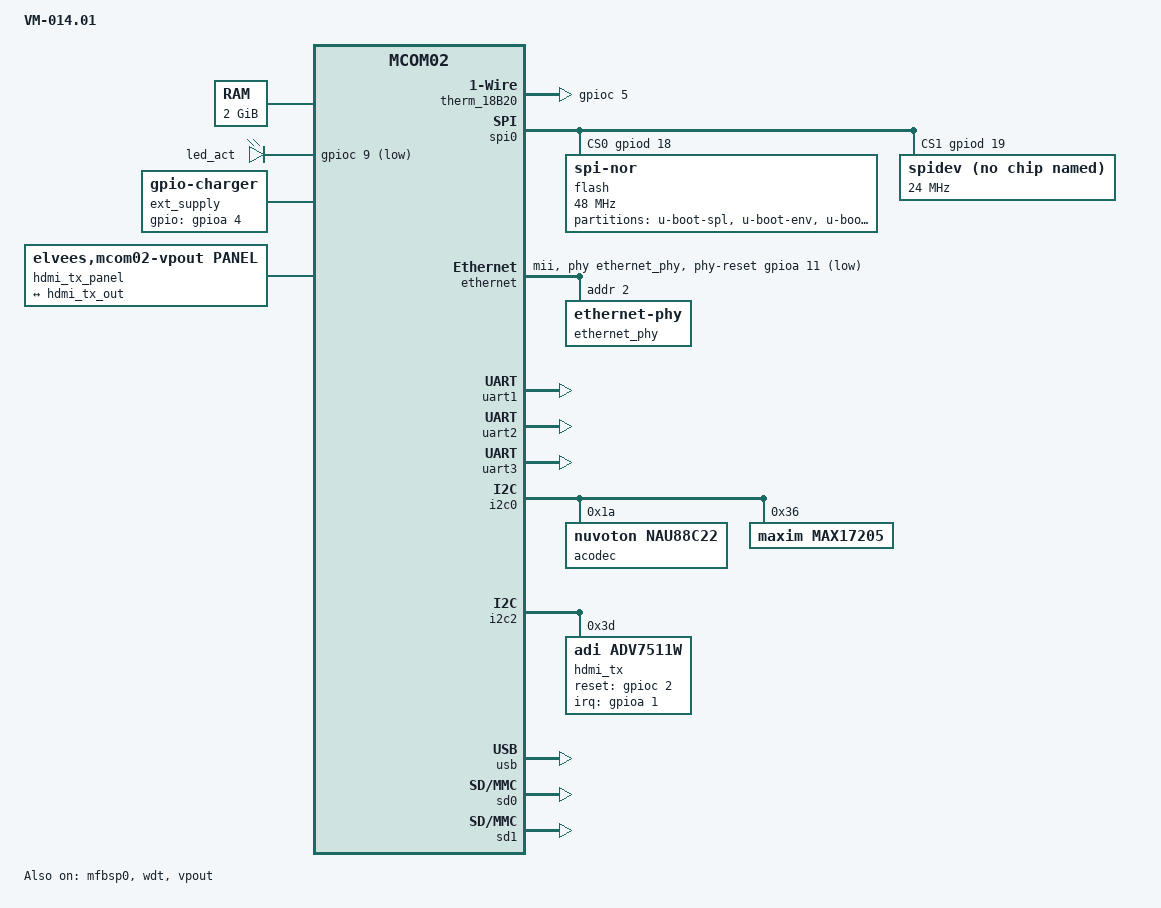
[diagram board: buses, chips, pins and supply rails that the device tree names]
/*
* Copyright 2015-2016 ELVEES NeoTek JSC
*
* This program is free software; you can redistribute it and/or modify
* it under the terms of the GNU General Public License version 2 as
* published by the Free Software Foundation.
*/

/dts-v1/;

#include <dt-bindings/interrupt-controller/irq.h>
#include <dt-bindings/gpio/gpio.h>

#include "mcom02.dtsi"

/ {
	model = "VM-014.01";
	revision = "1.0";
	compatible = "elvees,salute-el24d1-r1.3",
		     "elvees,salute-el24d1",
		     "elvees,mcom02";
	poweroff-gpio = <&gpioc 6 GPIO_ACTIVE_HIGH>;

	chosen {
		bootargs = "console=ttyS0,115200";
	};

	aliases {
		spi0 = &spi0;
		i2c0 = &i2c0;
		i2c1 = &i2c1;
		i2c2 = &i2c2;
        ethernet0 = &ethernet;
	};

	memory {
		device_type = "memory";
		reg = <0x40000000 0x40000000
		       0xa0000000 0x40000000>;
	};

	leds {
		compatible = "gpio-leds";

		led@1 {
			label = "led_act";
			gpios = <&gpioc 9 GPIO_ACTIVE_LOW>;
			linux,default-trigger = "heartbeat";
		};

	};

	xtican: xtican {
		compatible = "fixed-clock";
		#clock-cells = <0>;
		clock-frequency = <16000000>;
	};
    
    therm_18B20 {
        compatible = "w1-gpio";
        gpios = <&gpioc 5 GPIO_ACTIVE_LOW>;
    };

    sound {
        compatible = "simple-audio-card";
        simple-audio-card,name = "VM14 Com Express Analog Audio";
        simple-audio-card,format = "i2s";
        simple-audio-card,bitclock-master = <&dailink0_master>;
        simple-audio-card,frame-master = <&dailink0_master>;

        simple-audio-card,cpu {
            sound-dai = <&mfbsp0>;
        };

        dailink0_master: simple-audio-card,codec {
            sound-dai = <&acodec>;
            system-clock-frequency = <24000000>;
        };
    };
    
    ext_supply: charger {
		compatible = "gpio-charger";
		charger-type = "mains";
		gpios = <&gpioa 4 GPIO_ACTIVE_HIGH>;
	};


    hdmi_tx_panel: panel0 {
		compatible = "elvees,mcom02-vpout,panel";
		

		display-timings {
			800x480p60 {
				clock-frequency = <33300000>;
				hactive = <800>;
				vactive = <480>;
				hfront-porch = <85>;
				hback-porch = <85>;
				hsync-len = <86>;
				vfront-porch = <15>;
				vback-porch = <15>;
				vsync-len = <15>;
			};
		};

		port {
			hdmi_tx_in: endpoint {
				remote-endpoint = <&hdmi_tx_out>;
			};
		};
	};/**/
};

&mfbsp0 {
	status = "okay";
};

&nor_sclk_div {
    clk-div-initial = <2>;
};

&spi0 {
	status = "okay";
	num-cs = <2>;
	/* Third argument of "cs-gpios" property is set to 0,
	 * because it is ignored by the SPI driver. */
	cs-gpios = <&gpiod 18 0>, <&gpiod 19 0>;
	spi-max-frequency = <144000000>;

	flash: flash@0 {
		#address-cells = <1>;
		#size-cells = <1>;
		compatible = "jedec,spi-nor", "spi-flash";
		reg = <0>;
		spi-max-frequency = <48000000>;
		u-boot,dm-pre-reloc;

		partition@0 {
			label = "u-boot-spl";
			reg = <0x0 0x10000>;
		};

		partition@1 {
			label = "u-boot-env";
			reg = <0x10000 0x10000>;
		};

		partition@2 {
			label = "u-boot";
			reg = <0x20000 0xa0000>;
		};

		partition@3 {
			label = "kernel";
			reg = <0x100000 0x210000>;
		};

		partition@4 {
			label = "RootFS";
			reg = <0x310000 0xcf0000>;
		};
	};

	spidev@1 {
		spi-max-frequency = <24000000>;
		reg = <1>;
		compatible = "rohm,dh2228fv";
	};
};

&ethernet {
	#address-cells = <1>;
	#size-cells = <0>;
	status = "okay";
	phy-mode = "mii";
	phy-handle = <&ethernet_phy>;
	phy-reset-gpios = <&gpioa 11 GPIO_ACTIVE_LOW>;

	ethernet_phy: ethernet-phy@2 {
		reg = <2>;
	};
};

&wdt {
    status = "okay";
};

&uart1 {
	status = "okay";
};


/*
 * RS-485 - 1
 */
&uart2 {
	status = "okay";
    rts-gpio = <&gpioa 31 GPIO_ACTIVE_LOW>;
    linux,rs485-enabled-at-boot-time;
    rs485-rts-active-high;
};

/*
 * RS-485 - 2
 */
&uart3 {
	status = "okay";
    rts-gpio = <&gpioc 1 GPIO_ACTIVE_LOW>;
    linux,rs485-enabled-at-boot-time;
    rs485-rts-active-high;
};

&i2c0 {
    status = "okay";
    acodec: nau88c22@1a {
        #sound-dai-cells = <0>;
        compatible = "nuvoton,nau88c22";
        clocks = <&xti24m>;
        reg = <0x1A>;
    };
    
    max17205@32 {
		compatible  = "maxim,max17205";
		reg         = <0x36>;
		rsense      = <10>;      /* miliOhm */
		talrt-min   = <(-40)>;     /* DegreeC */
		talrt-max   = <65>;      /* DegreeC */
		valrt-min   = <6000>;    /* mV */
		valrt-max   = <8400>;    /* mV */
		salrt-min   = <1>;       /* Percent */
		salrt-max   = <99>;      /* Percent */
		ialrt-min   = <(-7000)>; /* mA */
		ialrt-max   = <7000>;    /* mA */
		
		power-supplies = <&ext_supply>;
	};
};

&i2c2 {
    status = "okay";
    
    hdmi_tx: adv7511@3d {
        compatible = "adi,adv7511w";
        reset = <&gpioc 2 GPIO_ACTIVE_HIGH>;
        reset-gpios = <&gpioc 2 GPIO_ACTIVE_HIGH>;
        interrupt-parent = <&gpioa>;
        interrupts = <1 IRQ_TYPE_LEVEL_LOW>;
        reg = <0x3d>;
    };
};

&framebuffer {
    status = "okay";
    u-boot,dm-pre-reloc;
    output = <&hdmi_tx>;
};

&gpioc {
	skip-gpio-list = <2>;
};

&vpout {
	status = "okay";
	port {
		#address-cells = <1>;
		#size-cells = <0>;

		hdmi_tx_out: endpoint@0 {
			reg = <0>;
			remote-endpoint = <&hdmi_tx_in>;
			info {
				label = "HDMI";
				bpp = <32>;
			};
		};
	};
};

&usb {
    status = "okay";
};

&sd0 {
    status = "okay";
};

&sd1 {
    status = "okay";
};


